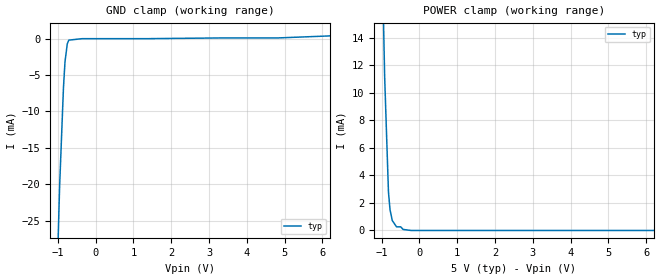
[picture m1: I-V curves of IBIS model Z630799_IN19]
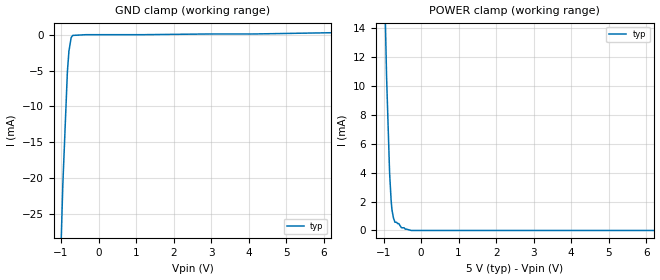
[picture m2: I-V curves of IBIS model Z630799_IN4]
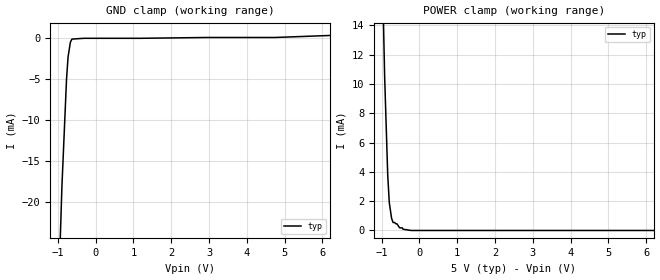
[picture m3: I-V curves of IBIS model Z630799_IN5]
| YOU ARE ONLY AUTHORIZED TO USE THIS SOFTWARE
| ACCORDING TO LICENSOR'S LICENSE RESTRICTIONS.
[IBIS Ver] 3.1
[File Name] mc10ep56dt_50.ibs
[File Rev] 3
[Source] Derived from mc10ep57dt_50.ibs Measured
|   and created by ICX Technology
[Date] 7/31/2003
[Copyright]
| (C) COPYRIGHT 1993-2000
| MENTOR GRAPHICS CORPORATION
| ICX STANDARD LIBRARY, ICX PROJECT MODELING,
| ICX CUSTOM MODELING, ICX VENDOR MODEL
| ALL RIGHTS RESERVED.
| THE FOLLOWING ARE TRADEMARKS OR SERVICE MARKS OF
| MENTOR GRAPHICS CORPORATION:ICX (R), ICX STANDARD
| LIBRARY(R), ICX PROJECT MODELING(R), ICX CUSTOM
| MODELING(R), qualityIBIS(TM), MODELVIEWER(TM),
| AND MODELEDITOR(TM)
| ALL COPIES OF SOFTWARE, INCLUDING BUT NOT LIMITED TO
| ANY MODIFICATIONS, ENHANCEMENTS OR DERIVATIVE WORKS,
| MUST CONTAIN ALL MENTOR GRAPHICS CORPORATION'S
| NOTICES AND LEGENDS, INCLUDING THOSE EMBEDDED IN
| SOFTWARE AND THOSE AFFIXED TO SOFTWARE MEDIUM
| AND CONTAINER, AS RECEIVED FROM MENTOR GRAPHICS
| CORPORATION.
|  ZAP Model Builder 2.8
[Component] MC10EP56DT_50
[Manufacturer] ON
[Package]
| variable   typ   min   max
R_pkg  .18ohms NA NA
L_pkg  4.22nH NA NA
C_pkg  .41pF NA NA
[Pin] signal_name  model_name  R_pin  L_pin C_pin
1 D0a Z630799_IN4 .185 4.57n .42p
2 _D0a Z630799_IN5 .177 3.98n .42p
3 VBB0 POWER .177 3.98n .42p
4 D0b Z630799_IN4 .185 4.57n .42p
5 _D0b Z630799_IN5 .177 3.98n .42p
6 D1a Z630799_IN4 .185 4.57n .42p
7 _D1a Z630799_IN5 .177 3.98n .42p
8 VBB1 POWER .177 3.98n .42p
9 D1b Z630799_IN5 .177 3.98n .42p
10 _D1b Z630799_IN4 .185 4.57n .42p
11 VEE POWER .194 5.16n .43p
12 _Q1 Z630799_OUT15 .171 3.6n .37p
13 Q1 Z630799_OUT16 .171 3.6n .37p
14 VCC POWER .174 3.79n .41p
15 SEL1 Z630799_IN19 .177 3.98n .42p
16 COM_SEL Z630799_IN4 .185 4.57n .42p
17 SEL0 Z630799_IN19 .177 3.98n .42p
18 _Q0 Z630799_OUT15 .171 3.6n .37p
19 Q0 Z630799_OUT16 .171 3.6n .37p
20 VCC POWER .194 5.16n .43p
[Diff Pin] inv_pin vdiff tdelay_typ tdelay_min tdelay_max
1 2 150mv NA NA NA
4 5 150mv NA NA NA
6 7 150mv NA NA NA
9 10 150mv NA NA NA
13 12 NA NA NA NA
19 18 NA NA NA NA
| Models and submodels in the file (5): Z630799_IN19 (Input_ECL), Z630799_IN4 (Input_ECL), Z630799_IN5 (Input_ECL), Z630799_OUT15 (Output_ECL), Z630799_OUT16 (Output_ECL)
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| (C) COPYRIGHT 1993-2000
| MENTOR GRAPHICS CORPORATION
| ICX STANDARD LIBRARY, ICX PROJECT MODELING,
| ICX CUSTOM MODELING, ICX VENDOR MODEL
| ALL RIGHTS RESERVED.
| THE FOLLOWING ARE TRADEMARKS OR SERVICE MARKS OF
| MENTOR GRAPHICS CORPORATION:ICX (R), ICX STANDARD
| LIBRARY(R), ICX PROJECT MODELING(R), ICX CUSTOM
| MODELING(R), qualityIBIS(TM), MODELVIEWER(TM),
| AND MODELEDITOR(TM)
| ALL COPIES OF SOFTWARE, INCLUDING BUT NOT LIMITED TO
| ANY MODIFICATIONS, ENHANCEMENTS OR DERIVATIVE WORKS,
| MUST CONTAIN ALL MENTOR GRAPHICS CORPORATION'S
| NOTICES AND LEGENDS, INCLUDING THOSE EMBEDDED IN
| SOFTWARE AND THOSE AFFIXED TO SOFTWARE MEDIUM
| AND CONTAINER, AS RECEIVED FROM MENTOR GRAPHICS
| CORPORATION.
| Model Application Version 1.89 2/18/99.
[Model] Z630799_IN19
Model_type Input_ECL
Vinl = 3.455V
Vinh = 3.855V
C_comp 2.000pF NA NA
| variable typ   min   max
[Voltage Range] 5.000V NA NA
[GND Clamp Reference] 0.000V NA NA
[POWER Clamp Reference] 5.000V NA NA
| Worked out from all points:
|   GND clamp passes 1 mA (typ) near -0.76 V on its own axis
|   POWER clamp passes 1 mA (typ) near -0.74 V on its own axis
[GND Clamp]
-5V       -921.9mA   NA         NA
-1.074V   -42.7mA    NA         NA
-953mV    -20.3mA    NA         NA
-851mV    -6.7mA     NA         NA
-811mV    -3.2mA     NA         NA
-750mV    -700uA     NA         NA
-709mV    -200uA     NA         NA
-354.5mV  0A         NA         NA
1.348V    0A         NA         NA
3.345V    100uA      NA         NA
4.819V    100uA      NA         NA
10V       1.154mA    NA         NA
[POWER Clamp]
-5V       698.7mA    NA         NA
-1.041V   27.45mA    NA         NA
-919mV    11.18mA    NA         NA
-818mV    2.797mA    NA         NA
-777mV    1.505mA    NA         NA
-716mV    717.6uA    NA         NA
-604.5mV  263uA      NA         NA
-493mV    263uA      NA         NA
-432mV    75.38uA    NA         NA
-216mV    0A         NA         NA
10V       0A         NA         NA
| (C) COPYRIGHT 1993-2000
| MENTOR GRAPHICS CORPORATION
| ICX STANDARD LIBRARY, ICX PROJECT MODELING,
| ICX CUSTOM MODELING, ICX VENDOR MODEL
| ALL RIGHTS RESERVED.
| THE FOLLOWING ARE TRADEMARKS OR SERVICE MARKS OF
| MENTOR GRAPHICS CORPORATION:ICX (R), ICX STANDARD
| LIBRARY(R), ICX PROJECT MODELING(R), ICX CUSTOM
| MODELING(R), qualityIBIS(TM), MODELVIEWER(TM),
| AND MODELEDITOR(TM)
| ALL COPIES OF SOFTWARE, INCLUDING BUT NOT LIMITED TO
| ANY MODIFICATIONS, ENHANCEMENTS OR DERIVATIVE WORKS,
| MUST CONTAIN ALL MENTOR GRAPHICS CORPORATION'S
| NOTICES AND LEGENDS, INCLUDING THOSE EMBEDDED IN
| SOFTWARE AND THOSE AFFIXED TO SOFTWARE MEDIUM
| AND CONTAINER, AS RECEIVED FROM MENTOR GRAPHICS
| CORPORATION.
| Model Application Version 1.89 2/18/99.
[Model] Z630799_IN4
Model_type Input_ECL
Vinl = 3.455V
Vinh = 3.855V
C_comp 2.000pF NA NA
| variable typ   min   max
[Voltage Range] 5.000V NA NA
[GND Clamp Reference] 0.000V NA NA
[POWER Clamp Reference] 5.000V NA NA
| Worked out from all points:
|   GND clamp passes 1 mA (typ) near -0.75 V on its own axis
|   POWER clamp passes 1 mA (typ) near -0.75 V on its own axis
[GND Clamp]
-5V       -913.8mA   NA         NA
-1.054V   -39.3mA    NA         NA
-953mV    -21mA      NA         NA
-831mV    -5.2mA     NA         NA
-790mV    -2.3mA     NA         NA
-730mV    -400uA     NA         NA
-689mV    -100uA     NA         NA
-344.5mV  0A         NA         NA
1.145V    0A         NA         NA
2.939V    100uA      NA         NA
4.124V    100uA      NA         NA
10V       595.6uA    NA         NA
[POWER Clamp]
-5V       626.1mA    NA         NA
-1.041V   25.24mA    NA         NA
-919mV    10.65mA    NA         NA
-838mV    3.955mA    NA         NA
-797mV    2.059mA    NA         NA
-777mV    1.461mA    NA         NA
-736mV    864.1uA    NA         NA
-695.5mV  570.9uA    NA         NA
-594mV    476uA      NA         NA
-422mV    93.08uA    NA         NA
-261.3mV  0A         NA         NA
10V       0A         NA         NA
| (C) COPYRIGHT 1993-2000
| MENTOR GRAPHICS CORPORATION
| ICX STANDARD LIBRARY, ICX PROJECT MODELING,
| ICX CUSTOM MODELING, ICX VENDOR MODEL
| ALL RIGHTS RESERVED.
| THE FOLLOWING ARE TRADEMARKS OR SERVICE MARKS OF
| MENTOR GRAPHICS CORPORATION:ICX (R), ICX STANDARD
| LIBRARY(R), ICX PROJECT MODELING(R), ICX CUSTOM
| MODELING(R), qualityIBIS(TM), MODELVIEWER(TM),
| AND MODELEDITOR(TM)
| ALL COPIES OF SOFTWARE, INCLUDING BUT NOT LIMITED TO
| ANY MODIFICATIONS, ENHANCEMENTS OR DERIVATIVE WORKS,
| MUST CONTAIN ALL MENTOR GRAPHICS CORPORATION'S
| NOTICES AND LEGENDS, INCLUDING THOSE EMBEDDED IN
| SOFTWARE AND THOSE AFFIXED TO SOFTWARE MEDIUM
| AND CONTAINER, AS RECEIVED FROM MENTOR GRAPHICS
| CORPORATION.
| Model Application Version 1.89 2/18/99.
[Model] Z630799_IN5
Model_type Input_ECL
Vinl = 3.455V
Vinh = 3.855V
C_comp 2.000pF NA NA
| variable typ   min   max
[Voltage Range] 5.000V NA NA
[GND Clamp Reference] 0.000V NA NA
[POWER Clamp Reference] 5.000V NA NA
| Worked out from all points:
|   GND clamp passes 1 mA (typ) near -0.69 V on its own axis
|   POWER clamp passes 1 mA (typ) near -0.75 V on its own axis
[GND Clamp]
-5V       -745mA     NA         NA
-1.034V   -39mA      NA         NA
-892mV    -18.1mA    NA         NA
-770mV    -5mA       NA         NA
-730mV    -2.3mA     NA         NA
-669mV    -500uA     NA         NA
-628mV    -100uA     NA         NA
-314mV    0A         NA         NA
1.176V    0A         NA         NA
2.939V    100uA      NA         NA
4.733V    100uA      NA         NA
10V       980.8uA    NA         NA
[POWER Clamp]
-5V       615.8mA    NA         NA
-1.041V   25.08mA    NA         NA
-919mV    10.5mA     NA         NA
-838mV    3.815mA    NA         NA
-797mV    1.922mA    NA         NA
-736mV    832.3uA    NA         NA
-695.5mV  545.8uA    NA         NA
-594mV    456uA      NA         NA
-523mV    179.8uA    NA         NA
-432mV    83.11uA    NA         NA
-216mV    0A         NA         NA
10V       0A         NA         NA
